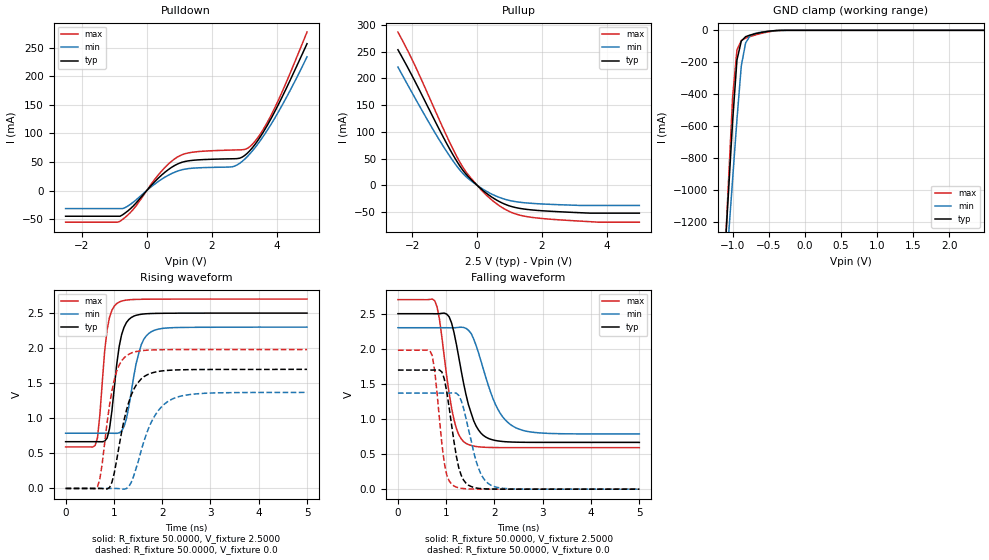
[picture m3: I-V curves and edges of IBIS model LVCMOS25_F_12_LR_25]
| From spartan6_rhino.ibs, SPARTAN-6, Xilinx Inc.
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|   Model LVCMOS25_F_12_LR_25
[Model]  LVCMOS25_F_12_LR_25
Model_type I/O
Polarity   Non-Inverting
Enable   Active-Low
Vinl =   0.7000V
Vinh =   1.7000V
Vmeas =  1.2500V
Cref =   0.0F
Rref =   1.0000M
Vref =   0.0V
C_comp   6.08pF   5.79pF   6.38pF
|C_comp  6.55pF   6.18pF   6.90pF
[Temperature Range]   25.0000   85.0000   0.0
[Voltage Range]   2.5000V   2.3000V   2.7000V
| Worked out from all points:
|   slope of the pulldown table from 0 to 0.375 V, typ, clamps not added: 16.5 ohm
|   slope of the pullup table from 0 to 0.375 V, typ, clamps not added: 19.9 ohm
|   GND clamp passes 1 mA (typ) near -0.38 V on its own axis
|   rising waveform, R_fixture 50.0000, V_fixture 2.5000: 20-80 % time 197ps typ, 258ps min, 159ps max; typ from 0.666 V to 2.5 V
|   rising waveform, R_fixture 50.0000, V_fixture 0.0: 20-80 % time 337ps typ, 451ps min, 257ps max; typ from 0 V to 1.7 V
|   falling waveform, R_fixture 50.0000, V_fixture 2.5000: 20-80 % time 351ps typ, 468ps min, 266ps max; typ from 2.5 V to 0.666 V
|   falling waveform, R_fixture 50.0000, V_fixture 0.0: 20-80 % time 232ps typ, 303ps min, 179ps max; typ from 1.7 V to 0 V
[Pulldown]
|Voltage   I(typ)   I(min)   I(max)
-2.5V     -44.83mA   -31.48mA   -55.24mA
-820mV    -44.83mA   -31.48mA   -53.54mA
-420mV    -27.23mA   -20.53mA   -33.16mA
460mV     27.15mA    19.89mA    34.21mA
940mV     46.23mA    33.88mA    58.48mA
1.42V     52.95mA    39.21mA    67.16mA
2.62V     55.62mA    41.51mA    70.87mA
2.94V     58.42mA    50.95mA    71.39mA
3.18V     69.89mA    64.33mA    76.92mA
3.5V      93.98mA    87.35mA    98.73mA
3.82V     124.7mA    114.8mA    130.3mA
4.94V     256.8mA    233.9mA    277.1mA
[Pullup]
|Voltage   I(typ)   I(min)   I(max)
-2.44V    253.4mA    221mA      286.4mA
-1.96V    199.6mA    168.2mA    229.6mA
-1.24V    113.2mA    92.3mA     132.5mA
-840mV    67.22mA    54.11mA    79.66mA
-520mV    35mA       27.76mA    42.08mA
-360mV    22mA       17.23mA    26.5mA
-40mV     2.309mA    1.748mA    2.821mA
520mV     -24.73mA   -18.45mA   -30.82mA
1.08V     -40.05mA   -29.47mA   -51.26mA
1.64V     -45.79mA   -33.59mA   -59.59mA
3.72V     -52.1mA    -37.7mA    -69mA
5V        -52.1mA    -37.7mA    -69mA
[GND_clamp]
|Voltage   I(typ)   I(min)   I(max)
-2.5V     -12.25A    -10.32A    -14.42A
-1.12V    -1.497A    -1.678A    -1.528A
-1.06V    -1.032A    -1.304A    -971.1mA
-1V       -567.5mA   -930.7mA   -417.3mA
-940mV    -185.1mA   -556.8mA   -122.7mA
-880mV    -67.15mA   -222.6mA   -63.57mA
-820mV    -39.69mA   -78.97mA   -48.56mA
-760mV    -29.78mA   -35.02mA   -39.26mA
-700mV    -22.82mA   -20.88mA   -30.97mA
-400mV    -1.417mA   -1.37mA    -2.749mA
2.48V     24.62nA    239.3nA    33.53nA
[POWER_clamp]
|Voltage   I(typ)   I(min)   I(max)
-2.49V    0A         0A         0A
-2.46V    0A         0A         0A
-2.43V    0A         0A         0A
0V        0A         0A         0A
[Ramp]
| variable   typ   min   max
dV/dt_r  1.0182/0.3348n   0.8214/0.4495n   1.1880/0.2537n
dV/dt_f  1.1002/0.3447n   0.9079/0.4666n   1.2650/0.2628n
R_load = 50.0000
[Rising Waveform]
R_fixture= 50.0000
V_fixture= 2.5000
V_fixture_min= 2.3000
V_fixture_max= 2.7000
|time   V(typ)   V(min)   V(max)
0s        666.2mV    786.8mV    591.5mV
610ps     666.2mV    786.8mV    611.2mV
710ps     665.9mV    786.7mV    1.049V
860ps     718.5mV    786.7mV    2.263V
960ps     1.109V     786.6mV    2.541V
1.11ns    2.025V     792.8mV    2.656V
1.26ns    2.365V     995.6mV    2.685V
1.57ns    2.483V     2.054V     2.696V
1.77ns    2.493V     2.232V     2.697V
5ns       2.499V     2.299V     2.699V
[Rising Waveform]
R_fixture= 50.0000
V_fixture= 0.0
|time   V(typ)   V(min)   V(max)
0s        0V         582.8nV    0V
660ps     21.41uV    -4.299uV   22.5mV
760ps     -975.9uV   -4.427uV   363.2mV
910ps     12.91mV    -28.39uV   1.19V
1.01ns    226mV      434.7uV    1.555V
1.31ns    1.233V     28.11mV    1.913V
1.46ns    1.471V     286.9mV    1.951V
1.77ns    1.642V     938.1mV    1.973V
2.17ns    1.685V     1.26V      1.979V
5ns       1.697V     1.369V     1.98V
[Falling Waveform]
R_fixture= 50.0000
V_fixture= 2.5000
V_fixture_min= 2.3000
V_fixture_max= 2.7000
|time   V(typ)   V(min)   V(max)
0s        2.5V       2.3V       2.7V
760ps     2.499V     2.3V       2.687V
860ps     2.5V       2.3V       2.42V
1.11ns    2.37V      2.299V     1.16V
1.26ns    1.88V      2.305V     775.9mV
1.41ns    1.346V     2.291V     652.1mV
1.72ns    798.1mV    1.825V     600.2mV
2.02ns    693.6mV    1.207V     593mV
2.37ns    671.2mV    902.3mV    591.8mV
5ns       666.3mV    786.9mV    591.6mV
[Falling Waveform]
R_fixture= 50.0000
V_fixture= 0.0
|time   V(typ)   V(min)   V(max)
0s        1.697V     1.369V     1.98V
710ps     1.697V     1.369V     1.903V
760ps     1.697V     1.369V     1.696V
960ps     1.572V     1.369V     374mV
1.16ns    681.9mV    1.373V     45.73mV
1.26ns    304.8mV    1.336V     19.21mV
1.36ns    128.6mV    1.152V     8.544mV
1.67ns    11.62mV    294.4mV    862.2uV
1.92ns    2.216mV    58.87mV    229.2uV
5ns       101.3uV    87.29uV    70.74uV
